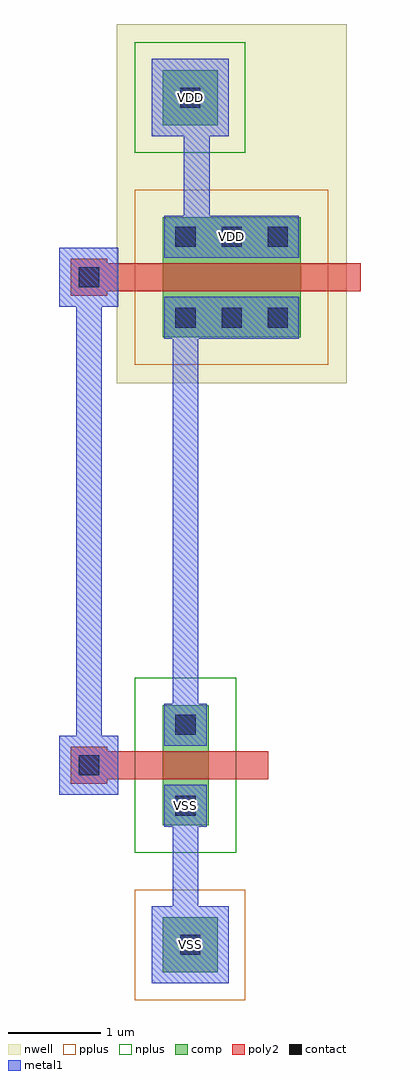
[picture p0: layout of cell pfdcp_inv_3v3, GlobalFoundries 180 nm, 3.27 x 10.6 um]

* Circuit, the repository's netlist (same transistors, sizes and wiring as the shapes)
* Extracted by KLayout with GF180MCU LVS runset on : 08/09/2026 20:56

.SUBCKT pfdcp_inv_3v3 VSS VDD
M$1 VDD \$1 \$3 VDD pfet_03v3 L=0.3U W=1.5U AS=0.75P AD=0.75P PS=4U PD=4U
M$2 \$3 \$1 VSS VSS nfet_03v3 L=0.3U W=0.5U AS=0.25P AD=0.25P PS=2U PD=2U
.ENDS pfdcp_inv_3v3

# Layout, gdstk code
import gdstk
lib = gdstk.Library(unit=1e-6, precision=1e-09)
def R(c, l, rs):  # rectangles x0, y0, x1, y1
    for r in rs: c.add(gdstk.rectangle(r[:2], r[2:], *l))
def A(c, l, x, y, w, h, nx, ny, dx, dy):  # array of equal rectangles
    R(c, l, [(x+i*dx, y+j*dy, x+i*dx+w, y+j*dy+h) for i in range(nx) for j in range(ny)])
nwell = (21, 0)
comp = (22, 0)
poly2 = (30, 0)
pplus = (31, 0)
nplus = (32, 0)
contact = (33, 0)
metal1 = (34, 0)

pfdcp_inv_3v3 = lib.new_cell('pfdcp_inv_3v3')
R(pfdcp_inv_3v3, nwell, [(-0.5,4.8,2,8.7)])
R(pfdcp_inv_3v3, comp, [(0,-1.6,0.6,-1), (0,0,0.5,1.3), (0,5.3,1.5,6.6), (0,7.6,0.6,8.2)])
R(pfdcp_inv_3v3, poly2, [(-1,0.45,-0.6,0.85), (-0.65,0.5,1.15,0.8), (-1,5.75,-0.6,6.15), (-0.65,5.8,2.15,6.1)])
R(pfdcp_inv_3v3, pplus, [(-0.3,-1.9,0.9,-0.7), (-0.3,5,1.8,6.9)])
R(pfdcp_inv_3v3, nplus, [(-0.3,-0.3,0.8,1.6), (-0.3,7.3,0.9,8.5)])
A(pfdcp_inv_3v3, contact, 0.14, 5.4, 0.22, 0.22, 3, 2, 0.5, 0.88)
R(pfdcp_inv_3v3, contact, [(0.19,-1.41,0.41,-1.19), (0.14,0.1,0.36,0.32), (-0.91,0.54,-0.69,0.76), (0.14,0.98,0.36,1.2), (-0.91,5.84,-0.69,6.06), (0.19,7.79,0.41,8.01)])
R(pfdcp_inv_3v3, metal1, [(-0.12,-1.72,0.72,-0.88), (0.11,-0.88,0.39,-0.02), (0.02,-0.02,0.48,0.44), (-1.12,0.33,-0.48,0.97), (0.02,0.86,0.48,1.32), (-0.94,0.97,-0.66,5.63), (0.11,1.32,0.39,5.28), (0.02,5.28,1.48,5.74), (-1.12,5.63,-0.48,6.27), (0.02,6.16,1.48,6.62), (0.23,6.62,0.51,7.48), (-0.12,7.48,0.72,8.32)])
pfdcp_inv_3v3.add(gdstk.Label('VSS', (0.25,0.21), layer=34, texttype=10))
pfdcp_inv_3v3.add(gdstk.Label('VDD', (0.75,6.39), layer=34, texttype=10))
pfdcp_inv_3v3.add(gdstk.Label('VDD', (0.3,7.9), layer=34, texttype=10))
pfdcp_inv_3v3.add(gdstk.Label('VSS', (0.3,-1.3), layer=34, texttype=10))

lib.write_gds('pfdcp_inv_3v3.gds')
